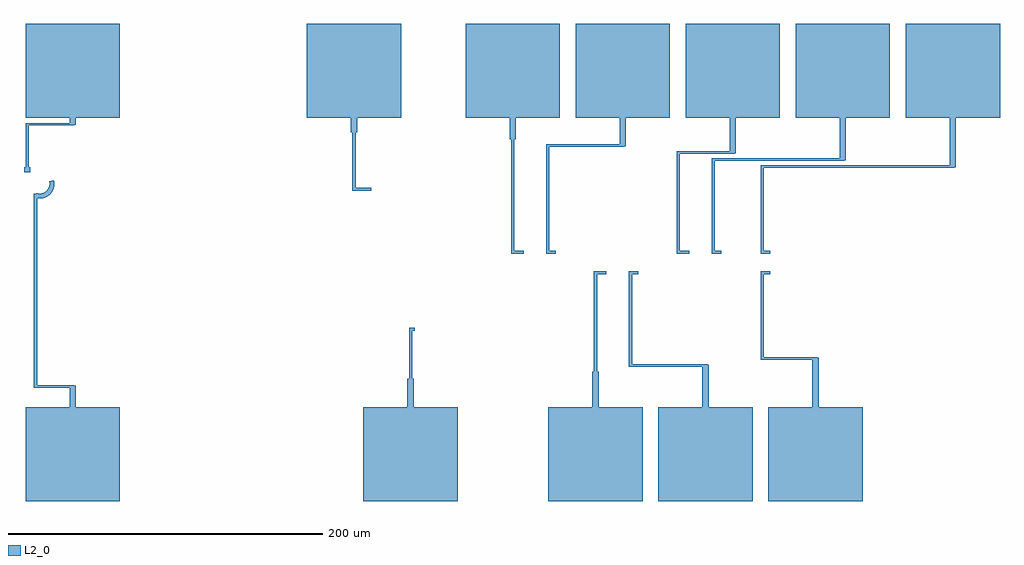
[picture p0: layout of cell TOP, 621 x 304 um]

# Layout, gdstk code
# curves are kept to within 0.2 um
import gdstk
lib = gdstk.Library(unit=1e-6, precision=1e-09)
def R(c, l, rs):  # rectangles x0, y0, x1, y1
    for r in rs: c.add(gdstk.rectangle(r[:2], r[2:], *l))
def A(c, l, x, y, w, h, nx, ny, dx, dy):  # array of equal rectangles
    R(c, l, [(x+i*dx, y+j*dy, x+i*dx+w, y+j*dy+h) for i in range(nx) for j in range(ny)])
def P(c, l, *ps):  # polygons
    for p in ps: c.add(gdstk.Polygon(p, *l))
L2_0 = (2, 0)

top = lib.new_cell('TOP')
A(top, L2_0, 334.6, -152, 60, 60, 3, 1, 70, 0)
A(top, L2_0, 282, 92, 60, 60, 5, 1, 70, 0)
R(top, L2_0, [(2,-152,62,-92), (217,-152,277,-92), (30,-122,34,-78.5), (245,-122,249,-74), (362.6,-122,366.6,-69.5), (432.6,-122,436.6,-65), (502.6,-122,506.6,-60.5), (7.338,-79.75,33,-78.25), (7.338,-79.5,9.338,-57.5), (246,-75.25,248,-73.75), (246,-75,248,-57.5), (363.6,-70.75,365.6,-69.25), (363.6,-70.5,365.6,-57.5), (385.9,-66.25,435.6,-64.75), (385.9,-66,387.9,-57.5), (469.8,-61.75,505.6,-60.25), (469.8,-61.5,471.8,-57.5), (7.338,-58.5,9.338,43.727), (246,-58.5,248,-42.996), (363.6,-58.5,365.6,-6.996), (385.9,-58.5,387.9,-6.996), (469.8,-58.5,471.8,-6.996), (246,-43.496,249.5,-41.496), (363.6,-7.496,371.6,-5.496), (385.9,-7.496,391.9,-5.496), (469.8,-7.496,475.8,-5.496), (311,5.496,319,7.496), (333.3,5.496,339.3,7.496), (416.2,5.496,424.2,7.496), (438.5,5.496,444.5,7.496), (469.8,5.496,475.8,7.496), (311,6.996,313,58.5), (333.3,6.996,335.3,58.5), (416.2,6.996,418.2,58.5), (438.5,6.996,440.5,58.5), (469.8,6.996,471.8,58.5), (210,45.496,222,47.496), (210,46.996,212,58.5), (1,57.496,5,60.496), (2,57.5,4,88.5), (210,57.5,212,84), (311,57.5,313,79.5), (333.3,57.5,335.3,75), (416.2,57.5,418.2,70.5), (438.5,57.5,440.5,66), (469.8,57.5,471.8,61.5), (2,58.5,4,59.996), (469.8,60.25,593,61.75), (590,60.5,594,122), (438.5,64.75,523,66.25), (520,65,524,122), (416.2,69.25,453,70.75), (450,69.5,454,122), (333.3,73.75,383,75.25), (380,74,384,122), (311,78.25,313,79.75), (310,78.5,314,122), (210,82.75,212,84.25), (209,83,213,122), (2,87.25,33,88.75), (30,87.5,34,122), (2,92,62,152), (181,92,241,152)])
P(top, L2_0, [(7.825,41.317),(10.305,40.783),(12.736,40.921),(15.14,41.731),(17.234,43.162),(18.917,45.193),(19.934,47.516),(20.283,49.927),(19.967,52.444),(17.069,51.667),(17.283,49.964),(17.028,48.266),(16.322,46.701),(15.22,45.385),(13.74,44.386),(12.175,43.868),(10.529,43.775),(8.851,44.136)])

lib.write_gds('TOP.gds')
